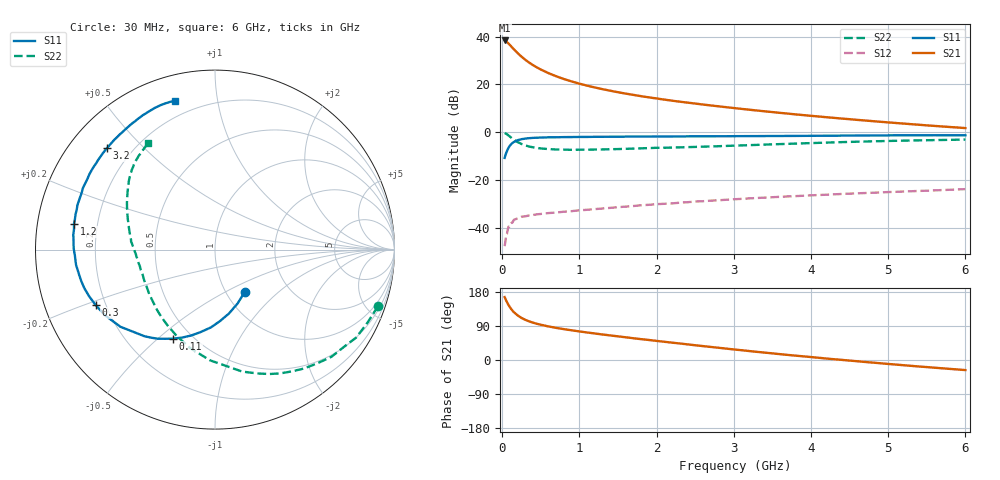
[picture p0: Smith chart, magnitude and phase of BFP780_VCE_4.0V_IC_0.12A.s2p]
! Infineon Technologies  Discrete & RF Semiconductors
! BFP780
! VCE =  4.0 V,  IC = 0.12 A
! Common Emitter S-Parameters:  Jul 2015
# GHz  S  MA  R  50
!  f  S11  S21  S12  S22
! GHz  MAG  ANG  MAG  ANG  MAG  ANG  MAG  ANG
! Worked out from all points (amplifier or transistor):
!   75 points, 30 MHz to 6 GHz, reference 50 ohm
!   highest |S21| = 38.4 dB at 30 MHz (marker M1)
!   |S21| within 3 dB of that: start of sweep to 130.3 MHz
!   unconditionally stable (mu >= 1): 1.607 GHz to end of sweep
!   at 150 MHz: K = 0.19, MSG = 35.7 dB, |S12| = -36.7 dB
!   at 2.3 GHz: K = 1.14, MAG = 18.9 dB, |S12| = -29.5 dB
!   at 6 GHz: K = 1.21, MAG = 10.0 dB, |S12| = -23.9 dB
!   S11 on the Smith chart (normalised r, x): 30 MHz: 1.22, -0.63; 110 MHz: 0.40, -0.56; 300 MHz: 0.16, -0.22; 1.2 GHz: 0.11, +0.09; 3.2 GHz: 0.11, +0.39; 6 GHz: 0.12, +0.76
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0.03  0.289 -55.1  83.07 166.1  0.0041 76.9  0.9612 -19.2
0.05  0.3654 -77.9  79.22 156.9  0.0071 56.4  0.9268 -31.9
0.07  0.4341 -93.0  74.41 149.1  0.009 69.6  0.8819 -42.6
0.09  0.4972 -105.6  69.06 142.0  0.0103 58.2  0.8286 -53.0
0.11  0.5478 -115.1  63.78 135.9  0.0121 48.9  0.7798 -62.2
0.15  0.6225 -129.2  54.32 126.3  0.0146 45.8  0.6958 -77.5
0.2  0.6802 -140.8  44.9 117.5  0.0157 38.1  0.6174 -92.6
0.25  0.7132 -149.0  37.92 110.9  0.017 35.6  0.5653 -104.3
0.3  0.7335 -155.1  32.52 105.8  0.0173 33.3  0.5263 -113.9
0.4  0.7589 -163.5  25.17 98.4  0.0185 29.7  0.4807 -128.2
0.5  0.7697 -169.4  20.43 93.0  0.0194 28.5  0.4551 -138.2
0.6  0.7789 -173.8  17.14 88.5  0.0202 28.1  0.4423 -146.0
0.8  0.7875 179.5  12.93 81.4  0.0216 29.2  0.4299 -156.9
1.1  0.7937 171.8  9.385 72.6  0.0237 30.6  0.4288 -167.7
1.2  0.7988 169.7  8.61 69.9  0.0245 30.9  0.4326 -170.1
1.6  0.8056 162.1  6.411 59.9  0.0276 32.2  0.4477 -178.8
2.1  0.8119 153.7  4.798 48.1  0.0316 32.8  0.4709 173.3
3.1  0.8248 138.1  3.068 25.8  0.0401 31.2  0.5276 157.7
3.2  0.826 136.7  2.949 23.6  0.041 30.8  0.5341 156.2
4.1  0.8395 124.3  2.124 5.8  0.0483 27.1  0.5967 144.3
5.1  0.8577 113.1  1.554 -12.1  0.0563 21.2  0.6586 132.6
6  0.8599 105.1  1.216 -26.6  0.0641 15.6  0.6988 122.1
